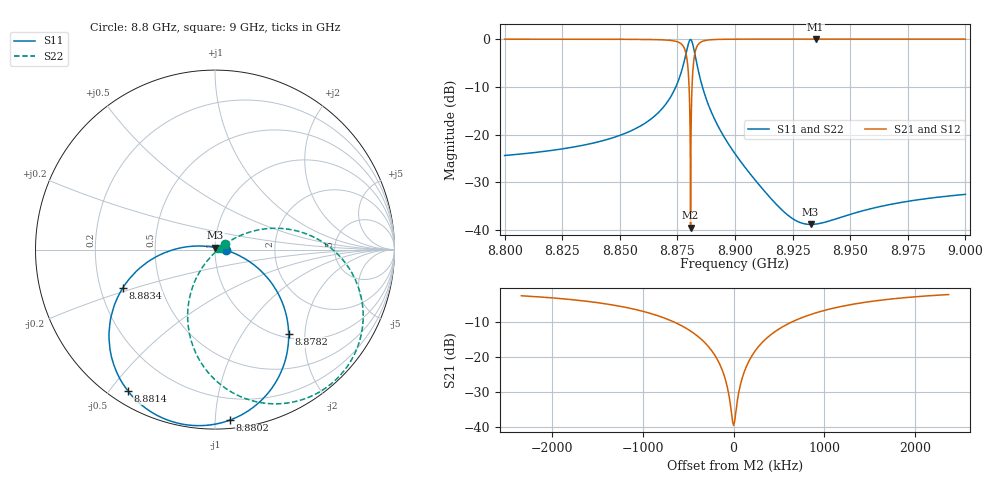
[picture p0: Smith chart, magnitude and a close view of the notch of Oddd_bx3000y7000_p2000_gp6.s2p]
! Sonnet Data File
! From: emgraph Version : 16.52
! From Emgraph Data: Resonator2
! Data File Written: 10/05/2017 00:32:33
!< HDATE 10/04/2017 20:26:48
!< MDATE 10/04/2017 20:26:48
!< PARAMS
!< gap = 6.0
!< Length = 400.0
!< Pwid1 = 2000.0
!< END PARAMS
# GHZ S MA R 35.98000
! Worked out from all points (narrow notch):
!   1595 points, 8.8 GHz to 9 GHz, reference 35.98 ohm
!   highest |S21| = 0.00 dB at 8.935 GHz (marker M1); lowest = -39.5 dB at 8.8807 GHz (marker M2)
!   notch at M2: 39.4 dB deep, 396 kHz wide at half that depth
!   lowest |S11| = -38.8 dB at 8.9328 GHz (marker M3), VSWR 1.02, Z = 36.1 + j0.816 ohm
!   |S11| at or under -10 dB: start of sweep to 8.8743 GHz; 8.8859 GHz to end of sweep
!   |S22| runs from -38.8 to -0.1 dB; largest |S21 - S12| = 0
!   S11 on the Smith chart (normalised r, x): 8.8 GHz: 1.13, -0.01; 8.8782 GHz: 1.08, -1.65; 8.8802 GHz: 0.05, -1.09; 8.8814 GHz: 0.05, -0.56; 8.8834 GHz: 0.30, -0.18; 9 GHz: 1.05, +0.01
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8.8  0.0605 -2.5  0.9982 -76.9  0.9982 -76.9  0.06051 28.6
!< P1 F=8.8 Eeff=(5.36817953 -2.3731e-5) Z0=(35.9853883 8.0522e-5) R=0.0 C=0.0
!< P2 F=8.8 Eeff=(5.36817953 -2.3731e-5) Z0=(35.9853883 8.0522e-5) R=0.0 C=0.0
8.8334  0.0769 -6.1  0.997 -78.2  0.997 -78.2  0.0769 29.7
8.866673  0.1695 -16.5  0.9853 -83.8  0.9853 -83.8  0.1695 28.7
8.874795  0.3364 -28.6  0.9407 -93.8  0.9407 -93.8  0.3365 20.6
8.878234  0.6237 -48.9  0.7767 -112.8  0.7767 -112.8  0.6238 2.4
8.879394  0.8222 -66.4  0.5568 -129.5  0.5568 -129.5  0.8224 -14.4
8.88018  0.954 -85.1  0.2656 -146.6  0.2656 -146.6  0.9542 -32.5
8.880498  0.9832 -94.2  0.1119 -152.4  0.1119 -152.4  0.9834 -41.5
8.880714  0.9892 -100.7  0.01064 -75.0  0.01064 -75.0  0.9895 -47.8
8.880859  0.9864 -105.0  0.07606 3.4  0.07606 3.4  0.9866 -52.0
8.881  0.9782 -109.3  0.1483 3.2  0.1483 3.2  0.9785 -56.2
8.881431  0.925 -121.6  0.354 -6.6  0.354 -6.6  0.9252 -68.2
8.88221  0.7718 -139.9  0.625 -23.7  0.625 -23.7  0.772 -85.9
8.8834  0.5555 -157.5  0.827 -40.5  0.827 -40.5  0.5557 -102.6
8.888274  0.2106 178.5  0.9769 -62.1  0.9769 -62.1  0.2106 -122.5
8.9  0.06319 162.4  0.9979 -70.8  0.9979 -70.8  0.06322 -123.8
8.9206  0.0161 124.1  0.9998 -73.9  0.9998 -73.9  0.01613 -91.8
8.9328  0.01149 79.2  0.9999 -74.7  0.9999 -74.7  0.01152 -48.5
8.9334  0.0115 77.1  0.9999 -74.7  0.9999 -74.7  0.01152 -46.5
8.935  0.01158 71.8  0.9999 -74.8  0.9999 -74.8  0.01161 -41.3
8.9668  0.01849 26.3  0.9998 -75.8  0.9998 -75.8  0.0185 2.2
9  0.02372 16.2  0.9997 -76.4  0.9997 -76.4  0.02372 11.0
